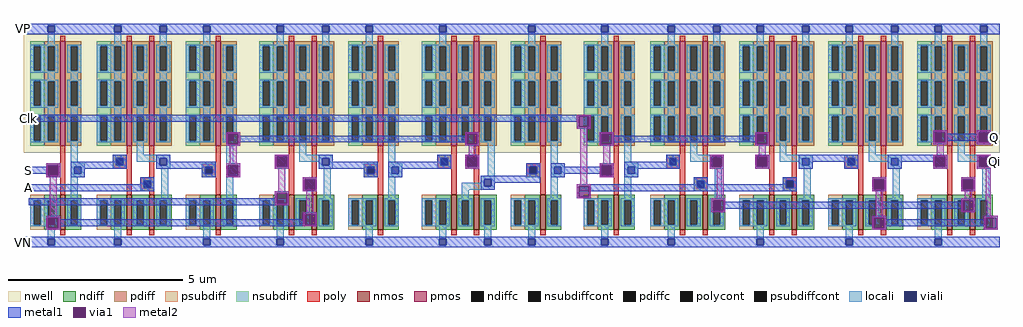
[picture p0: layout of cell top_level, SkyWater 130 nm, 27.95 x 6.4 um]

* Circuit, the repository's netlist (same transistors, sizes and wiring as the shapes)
* NGSPICE file created from top_level.ext - technology: sky130A

.subckt nand A B OUT VP VN
X0 OUT B a_30_0# VN sky130_fd_pr__nfet_01v8 ad=0.5 pd=3 as=0.25 ps=1.5 w=1 l=0.15
X1 a_30_0# A VN VN sky130_fd_pr__nfet_01v8 ad=0.25 pd=1.5 as=0.45 ps=2.9 w=1 l=0.15
X2 OUT A VP VP sky130_fd_pr__pfet_01v8 ad=0.75 pd=3.5 as=1.35 ps=6.9 w=3 l=0.15
X3 VP B OUT VP sky130_fd_pr__pfet_01v8 ad=1.5 pd=7 as=0.75 ps=3.5 w=3 l=0.15
.ends

.subckt inverter A OUT VP VN
X0 OUT A VN VN sky130_fd_pr__nfet_01v8 ad=0.45 pd=2.9 as=0.45 ps=2.9 w=1 l=0.15
X1 OUT A VP VP sky130_fd_pr__pfet_01v8 ad=1.35 pd=6.9 as=1.35 ps=6.9 w=3 l=0.15
.ends

.subckt dff D Clk Q Qi VP VN
Xnand_3 nand_3/A Qi Q VP VN nand
Xinverter_1 D nand_0/A VP VN inverter
Xnand_0 nand_0/A Clk nand_2/B VP VN nand
Xnand_1 D Clk nand_3/A VP VN nand
Xnand_2 Q nand_2/B Qi VP VN nand
.ends

.subckt nor A B OUT VP VN
X0 VN B OUT VN sky130_fd_pr__nfet_01v8 ad=0.5 pd=3 as=0.25 ps=1.5 w=1 l=0.15
X1 OUT A VN VN sky130_fd_pr__nfet_01v8 ad=0.25 pd=1.5 as=0.45 ps=2.9 w=1 l=0.15
X2 a_30_480# A VP VP sky130_fd_pr__pfet_01v8 ad=0.75 pd=3.5 as=1.35 ps=6.9 w=3 l=0.15
X3 OUT B a_30_480# VP sky130_fd_pr__pfet_01v8 ad=1.5 pd=7 as=0.75 ps=3.5 w=3 l=0.15
.ends

.subckt or A B OUT VP VN
Xinverter_0 nor_0/OUT OUT VP VN inverter
Xnor_0 A B nor_0/OUT VP VN nor
.ends

.subckt and A B OUT VP VN
Xinverter_0 nand_0/OUT OUT VP VN inverter
Xnand_0 A B nand_0/OUT VP VN nand
.ends

.subckt mux A B S D VP VN
Xinverter_0 S and_0/A VP VN inverter
Xor_0 or_0/A or_0/B D VP VN or
Xand_0 and_0/A A or_0/B VP VN and
Xand_1 B S or_0/A VP VN and
.ends

.subckt top_level A B S Clk Q Qi VP VN
Xdff_1 mux_0/D Clk Q Qi VP VN dff
Xmux_0 A B S mux_0/D VP VN mux
.ends

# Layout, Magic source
magic
tech sky130A
magscale 1 2
<< nwell >>
rect 3130 540 3170 1220
<< metal1 >>
rect 0 1220 30 1280
rect 3130 1220 3170 1280
rect 30 750 3250 760
rect 30 720 3180 750
rect 3170 690 3180 720
rect 3240 690 3250 750
rect 3170 680 3250 690
rect 5210 660 5290 670
rect 5210 600 5220 660
rect 5280 650 5290 660
rect 5460 660 5540 670
rect 5460 650 5470 660
rect 5280 610 5470 650
rect 5280 600 5290 610
rect 5210 590 5290 600
rect 5460 600 5470 610
rect 5530 650 5540 660
rect 5530 610 5560 650
rect 5530 600 5540 610
rect 5460 590 5540 600
rect 5210 520 5290 530
rect 5210 460 5220 520
rect 5280 460 5290 520
rect 30 420 70 460
rect 3100 420 3170 460
rect 5210 450 5290 460
rect 5460 520 5540 530
rect 5460 460 5470 520
rect 5530 510 5540 520
rect 5530 470 5560 510
rect 5530 460 5540 470
rect 5460 450 5540 460
rect 30 320 70 360
rect 3170 350 3250 360
rect 3170 290 3180 350
rect 3240 290 3250 350
rect 3170 280 3250 290
rect 30 240 70 280
rect 0 0 30 60
rect 3130 0 3170 60
<< via1 >>
rect 3180 690 3240 750
rect 5220 600 5280 660
rect 5470 600 5530 660
rect 5220 460 5280 520
rect 5470 460 5530 520
rect 3180 290 3240 350
<< metal2 >>
rect 3170 750 3250 760
rect 3170 690 3180 750
rect 3240 690 3250 750
rect 3170 680 3250 690
rect 3190 360 3230 680
rect 5210 660 5290 670
rect 5210 600 5220 660
rect 5280 600 5290 660
rect 5210 590 5290 600
rect 5460 660 5540 670
rect 5460 600 5470 660
rect 5530 600 5540 660
rect 5460 590 5540 600
rect 5230 530 5270 590
rect 5210 520 5290 530
rect 5210 460 5220 520
rect 5280 460 5290 520
rect 5210 450 5290 460
rect 5460 520 5540 530
rect 5460 460 5470 520
rect 5530 460 5540 520
rect 5460 450 5540 460
rect 3170 350 3250 360
rect 3170 290 3180 350
rect 3240 290 3250 350
rect 3170 280 3250 290
use dff  dff_1
transform 1 0 3170 0 1 0
box 0 0 2420 1280
use mux  mux_0
transform 1 0 0 0 1 0
box 0 0 3171 1280
<< labels >>
flabel metal1 30 420 30 460 1 FreeSans 560 0 0 0 S
port 3 n
flabel metal1 30 320 30 360 1 FreeSans 560 0 0 0 A
port 1 n
flabel metal1 30 240 30 280 1 FreeSans 560 0 0 0 B
port 2 n
flabel metal1 30 720 30 760 1 FreeSans 560 0 0 0 Clk
port 4 n
flabel metal1 5560 610 5560 650 1 FreeSans 560 0 0 0 Q
port 5 n
flabel metal1 5560 470 5560 510 1 FreeSans 560 0 0 0 Qi
port 6 n
flabel metal1 0 1220 0 1280 3 FreeSans 560 0 0 0 VP
port 7 e
flabel metal1 0 0 0 60 3 FreeSans 560 0 0 0 VN
port 8 e
<< end >>

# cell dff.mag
magic
tech sky130A
<< poly >>
rect 1055 225 1060 265
<< locali >>
rect 1055 225 1060 265
rect 1180 225 1185 265
<< metal1 >>
rect 0 610 15 640
rect 65 325 105 330
rect 65 295 70 325
rect 100 320 105 325
rect 510 325 550 330
rect 510 320 515 325
rect 100 300 515 320
rect 100 295 105 300
rect 65 290 105 295
rect 510 295 515 300
rect 545 295 550 325
rect 510 290 550 295
rect 255 245 295 265
rect 65 235 105 240
rect 65 230 70 235
rect 0 210 70 230
rect 65 205 70 210
rect 100 205 105 235
rect 65 200 105 205
rect 135 225 295 245
rect 380 260 420 265
rect 380 230 385 260
rect 415 230 420 260
rect 380 225 420 230
rect 510 260 550 265
rect 510 230 515 260
rect 545 230 550 260
rect 510 225 550 230
rect 635 245 805 265
rect 635 225 675 245
rect 765 225 805 245
rect 890 245 1060 265
rect 890 225 930 245
rect 1020 225 1060 245
rect 1145 260 1185 265
rect 1145 230 1150 260
rect 1180 230 1185 260
rect 1145 225 1185 230
rect 135 200 175 225
rect 335 180 375 200
rect 845 195 885 200
rect 0 160 590 180
rect 845 165 850 195
rect 880 165 885 195
rect 845 160 885 165
rect 1100 195 1140 200
rect 1100 165 1105 195
rect 1135 165 1140 195
rect 1100 160 1140 165
rect 385 135 425 140
rect 385 105 390 135
rect 420 130 425 135
rect 1100 135 1140 140
rect 1100 130 1105 135
rect 420 110 1105 130
rect 420 105 425 110
rect 385 100 425 105
rect 1100 105 1105 110
rect 1135 105 1140 135
rect 1100 100 1140 105
rect 845 85 885 90
rect 845 55 850 85
rect 880 80 885 85
rect 1165 85 1205 90
rect 1165 80 1170 85
rect 880 60 1170 80
rect 880 55 885 60
rect 845 50 885 55
rect 1165 55 1170 60
rect 1200 55 1205 85
rect 1165 50 1205 55
rect 0 0 15 30
<< via1 >>
rect 70 295 100 325
rect 515 295 545 325
rect 70 205 100 235
rect 385 230 415 260
rect 515 230 545 260
rect 1150 230 1180 260
rect 850 165 880 195
rect 1105 165 1135 195
rect 390 105 420 135
rect 1105 105 1135 135
rect 850 55 880 85
rect 1170 55 1200 85
<< metal2 >>
rect 65 325 105 330
rect 65 295 70 325
rect 100 295 105 325
rect 65 290 105 295
rect 510 325 550 330
rect 510 295 515 325
rect 545 295 550 325
rect 510 290 550 295
rect 75 240 95 290
rect 520 265 540 290
rect 380 260 420 265
rect 65 235 105 240
rect 65 205 70 235
rect 100 205 105 235
rect 380 230 385 260
rect 415 230 420 260
rect 380 225 420 230
rect 510 260 550 265
rect 510 230 515 260
rect 545 230 550 260
rect 510 225 550 230
rect 1145 260 1185 265
rect 1145 230 1150 260
rect 1180 230 1185 260
rect 1145 225 1185 230
rect 65 200 105 205
rect 400 140 420 225
rect 845 195 885 200
rect 845 165 850 195
rect 880 165 885 195
rect 845 160 885 165
rect 1100 195 1140 200
rect 1100 165 1105 195
rect 1135 165 1140 195
rect 1100 160 1140 165
rect 385 135 425 140
rect 385 105 390 135
rect 420 105 425 135
rect 385 100 425 105
rect 855 90 875 160
rect 1110 140 1130 160
rect 1100 135 1140 140
rect 1100 105 1105 135
rect 1135 105 1140 135
rect 1100 100 1140 105
rect 1170 90 1185 225
rect 845 85 885 90
rect 845 55 850 85
rect 880 55 885 85
rect 845 50 885 55
rect 1165 85 1205 90
rect 1165 55 1170 85
rect 1200 55 1205 85
rect 1165 50 1205 55
use inverter  inverter_1
transform 1 0 105 0 1 50
box -105 -50 85 590
use nand  nand_0
transform 1 0 295 0 1 50
box -105 -50 150 590
use nand  nand_1
transform 1 0 550 0 1 50
box -105 -50 150 590
use nand  nand_2
transform 1 0 1060 0 1 50
box -105 -50 150 590
use nand  nand_3
transform 1 0 805 0 1 50
box -105 -50 150 590
<< labels >>
flabel metal1 0 210 0 230 3 FreeSans 200 0 0 0 D
port 1 e
flabel metal1 0 160 0 180 3 FreeSans 200 0 0 0 Clk
port 2 e
flabel metal1 0 610 0 640 3 FreeSans 200 0 0 0 VP
port 5 e
flabel metal1 0 0 0 30 3 FreeSans 200 0 0 0 VN
port 6 e
flabel metal1 1060 225 1060 265 1 FreeSans 200 0 0 0 Q
port 3 n
flabel metal2 1185 225 1185 265 1 FreeSans 200 0 0 0 Qi
port 4 n
<< end >>

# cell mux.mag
magic
tech sky130A
magscale 1 2
<< nwell >>
rect 1270 540 1310 1220
rect 2200 540 2250 1220
<< metal1 >>
rect 0 1220 30 1280
rect 1270 1220 1310 1280
rect 2200 1220 2240 1280
rect 1160 650 1240 660
rect 1160 590 1170 650
rect 1230 640 1240 650
rect 2530 650 2610 660
rect 2530 640 2540 650
rect 1230 600 2540 640
rect 1230 590 1240 600
rect 1160 580 1240 590
rect 2530 590 2540 600
rect 2600 590 2610 650
rect 2530 580 2610 590
rect 510 490 590 530
rect 130 470 210 480
rect 130 460 140 470
rect 40 420 140 460
rect 130 410 140 420
rect 200 410 210 470
rect 130 400 210 410
rect 270 450 590 490
rect 1440 520 1520 530
rect 1160 470 1240 480
rect 270 400 350 450
rect 1160 410 1170 470
rect 1230 410 1240 470
rect 1440 460 1450 520
rect 1510 460 1520 520
rect 2370 490 2450 530
rect 1440 450 1520 460
rect 2090 450 2450 490
rect 2530 520 2610 530
rect 2530 460 2540 520
rect 2600 460 2610 520
rect 2530 450 2610 460
rect 1160 400 1240 410
rect 2090 400 2170 450
rect 3020 400 3100 480
rect 670 360 750 400
rect 40 320 750 360
rect 1600 390 1680 400
rect 1600 330 1610 390
rect 1670 330 1680 390
rect 1600 320 1680 330
rect 1440 310 1520 320
rect 1440 280 1450 310
rect 40 250 1450 280
rect 1510 250 1520 310
rect 40 240 1520 250
rect 1600 190 1680 200
rect 130 170 210 180
rect 130 110 140 170
rect 200 160 210 170
rect 1600 160 1610 190
rect 200 130 1610 160
rect 1670 130 1680 190
rect 200 120 1680 130
rect 200 110 210 120
rect 130 100 210 110
rect 0 0 30 60
rect 1270 0 1310 60
rect 2200 0 2240 60
<< via1 >>
rect 1170 590 1230 650
rect 2540 590 2600 650
rect 140 410 200 470
rect 1170 410 1230 470
rect 1450 460 1510 520
rect 2540 460 2600 520
rect 1610 330 1670 390
rect 1450 250 1510 310
rect 140 110 200 170
rect 1610 130 1670 190
<< metal2 >>
rect 1160 650 1240 660
rect 1160 590 1170 650
rect 1230 590 1240 650
rect 1160 580 1240 590
rect 2530 650 2610 660
rect 2530 590 2540 650
rect 2600 590 2610 650
rect 2530 580 2610 590
rect 1180 480 1220 580
rect 2550 530 2590 580
rect 1440 520 1520 530
rect 130 470 210 480
rect 130 410 140 470
rect 200 410 210 470
rect 130 400 210 410
rect 1160 470 1240 480
rect 1160 410 1170 470
rect 1230 410 1240 470
rect 1440 460 1450 520
rect 1510 460 1520 520
rect 1440 450 1520 460
rect 2530 520 2610 530
rect 2530 460 2540 520
rect 2600 460 2610 520
rect 2530 450 2610 460
rect 1160 400 1240 410
rect 150 180 190 400
rect 1460 320 1500 450
rect 1600 390 1680 400
rect 1600 330 1610 390
rect 1670 330 1680 390
rect 1600 320 1680 330
rect 1440 310 1520 320
rect 1440 250 1450 310
rect 1510 250 1520 310
rect 1440 240 1520 250
rect 1620 200 1660 320
rect 1600 190 1680 200
rect 130 170 210 180
rect 130 110 140 170
rect 200 110 210 170
rect 1600 130 1610 190
rect 1670 130 1680 190
rect 1600 120 1680 130
rect 130 100 210 110
use and  and_0
transform 1 0 380 0 1 0
box 0 0 931 1280
use and  and_1
transform 1 0 1310 0 1 0
box 0 0 931 1280
use inverter  inverter_0
transform 1 0 210 0 1 100
box -210 -100 170 1180
use or  or_0
transform 1 0 2240 0 1 0
box 0 0 931 1280
<< labels >>
flabel metal1 40 420 40 460 1 FreeSans 400 0 0 0 S
port 3 n
flabel metal1 40 320 40 360 1 FreeSans 400 0 0 0 A
port 1 n
flabel metal1 40 240 40 280 1 FreeSans 400 0 0 0 B
port 2 n
flabel metal1 3100 400 3100 480 1 FreeSans 400 0 0 0 D
port 4 n
flabel metal1 0 1220 0 1280 3 FreeSans 400 0 0 0 VP
port 5 e
flabel metal1 0 0 0 60 3 FreeSans 400 0 0 0 VN
port 6 e
<< end >>

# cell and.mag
magic
tech sky130A
<< metal1 >>
rect 0 610 15 640
rect 65 225 105 265
rect 230 225 360 245
rect 390 200 430 240
rect 145 160 185 200
rect 0 0 15 30
use inverter  inverter_0
transform 1 0 360 0 1 50
box -105 -50 85 590
use nand  nand_0
transform 1 0 105 0 1 50
box -105 -50 150 590
<< labels >>
flabel metal1 65 225 65 265 1 FreeSans 200 0 0 0 A
port 1 n
flabel metal1 145 160 145 200 1 FreeSans 200 0 0 0 B
port 2 n
flabel metal1 430 200 430 240 1 FreeSans 200 0 0 0 OUT
port 3 n
flabel metal1 0 610 0 640 3 FreeSans 200 0 0 0 VP
port 4 e
flabel metal1 0 0 0 30 3 FreeSans 200 0 0 0 VN
port 5 e
<< end >>

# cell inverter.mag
magic
tech sky130A
<< nwell >>
rect -105 220 85 560
<< nmos >>
rect 0 0 15 100
<< pmos >>
rect 0 240 15 540
<< ndiff >>
rect -45 85 0 100
rect -45 15 -35 85
rect -15 15 0 85
rect -45 0 0 15
rect 15 85 60 100
rect 15 15 30 85
rect 50 15 60 85
rect 15 0 60 15
<< pdiff >>
rect -45 525 0 540
rect -45 455 -35 525
rect -15 455 0 525
rect -45 425 0 455
rect -45 355 -35 425
rect -15 355 0 425
rect -45 325 0 355
rect -45 255 -35 325
rect -15 255 0 325
rect -45 240 0 255
rect 15 525 60 540
rect 15 455 30 525
rect 50 455 60 525
rect 15 425 60 455
rect 15 355 30 425
rect 50 355 60 425
rect 15 325 60 355
rect 15 255 30 325
rect 50 255 60 325
rect 15 240 60 255
<< ndiffc >>
rect -35 15 -15 85
rect 30 15 50 85
<< pdiffc >>
rect -35 455 -15 525
rect -35 355 -15 425
rect -35 255 -15 325
rect 30 455 50 525
rect 30 355 50 425
rect 30 255 50 325
<< psubdiff >>
rect -85 85 -45 100
rect -85 15 -75 85
rect -55 15 -45 85
rect -85 0 -45 15
<< nsubdiff >>
rect -85 525 -45 540
rect -85 455 -75 525
rect -55 455 -45 525
rect -85 425 -45 455
rect -85 355 -75 425
rect -55 355 -45 425
rect -85 325 -45 355
rect -85 255 -75 325
rect -55 255 -45 325
rect -85 240 -45 255
<< psubdiffcont >>
rect -75 15 -55 85
<< nsubdiffcont >>
rect -75 455 -55 525
rect -75 355 -55 425
rect -75 255 -55 325
<< poly >>
rect 0 540 15 555
rect 0 190 15 240
rect -40 180 15 190
rect -40 160 -30 180
rect -10 160 15 180
rect -40 150 15 160
rect 0 100 15 150
rect 0 -15 15 0
<< polycont >>
rect -30 160 -10 180
<< locali >>
rect -35 585 -15 590
rect -35 530 -15 565
rect -85 525 -5 530
rect -85 455 -75 525
rect -55 455 -35 525
rect -15 455 -5 525
rect -85 450 -5 455
rect 20 525 60 530
rect 20 455 30 525
rect 50 455 60 525
rect 20 450 60 455
rect -35 430 -15 450
rect 30 430 50 450
rect -85 425 -5 430
rect -85 355 -75 425
rect -55 355 -35 425
rect -15 355 -5 425
rect -85 350 -5 355
rect 20 425 60 430
rect 20 355 30 425
rect 50 355 60 425
rect 20 350 60 355
rect -35 330 -15 350
rect 30 330 50 350
rect -85 325 -5 330
rect -85 255 -75 325
rect -55 255 -35 325
rect -15 255 -5 325
rect -85 250 -5 255
rect 20 325 60 330
rect 20 255 30 325
rect 50 255 60 325
rect 20 250 60 255
rect 30 190 50 250
rect -40 180 0 190
rect -40 160 -30 180
rect -10 160 0 180
rect -40 150 0 160
rect 30 180 70 190
rect 30 160 40 180
rect 60 160 70 180
rect 30 150 70 160
rect 30 90 50 150
rect -85 85 -5 90
rect -85 15 -75 85
rect -55 15 -35 85
rect -15 15 -5 85
rect -85 10 -5 15
rect 20 85 60 90
rect 20 15 30 85
rect 50 15 60 85
rect 20 10 60 15
rect -35 -25 -15 10
<< viali >>
rect -35 565 -15 585
rect -30 160 -10 180
rect 40 160 60 180
rect -35 -45 -15 -25
<< metal1 >>
rect -105 585 85 590
rect -105 565 -35 585
rect -15 565 85 585
rect -105 560 85 565
rect -40 180 0 190
rect -40 160 -30 180
rect -10 160 0 180
rect -40 150 0 160
rect 30 180 70 190
rect 30 160 40 180
rect 60 160 70 180
rect 30 150 70 160
rect -105 -25 85 -20
rect -105 -45 -35 -25
rect -15 -45 85 -25
rect -105 -50 85 -45
<< labels >>
flabel metal1 -40 150 -40 190 1 FreeSans 200 0 0 0 A
port 1 n
flabel metal1 70 150 70 190 1 FreeSans 200 0 0 0 OUT
port 2 n
flabel metal1 -105 560 -105 590 3 FreeSans 200 0 0 0 VP
port 3 e
flabel metal1 -105 -50 -105 -20 3 FreeSans 200 0 0 0 VN
port 4 e
<< end >>

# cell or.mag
magic
tech sky130A
<< metal1 >>
rect 0 610 20 640
rect 65 225 105 265
rect 145 225 185 265
rect 230 185 360 205
rect 390 200 430 240
rect 0 0 20 30
use inverter  inverter_0
transform 1 0 360 0 1 50
box -105 -50 85 590
use nor  nor_0
transform 1 0 105 0 1 50
box -105 -50 150 590
<< labels >>
flabel metal1 65 225 65 265 1 FreeSans 200 0 0 0 A
port 1 n
flabel metal1 145 225 145 265 1 FreeSans 200 0 0 0 B
port 2 n
flabel metal1 430 200 430 240 1 FreeSans 200 0 0 0 OUT
port 3 n
flabel metal1 0 610 0 640 3 FreeSans 200 0 0 0 VP
port 4 e
flabel metal1 0 0 0 30 3 FreeSans 200 0 0 0 VN
port 5 e
<< end >>

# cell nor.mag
magic
tech sky130A
<< nwell >>
rect -105 220 150 560
<< nmos >>
rect 0 0 15 100
rect 65 0 80 100
<< pmos >>
rect 0 240 15 540
rect 65 240 80 540
<< ndiff >>
rect -45 85 0 100
rect -45 15 -35 85
rect -15 15 0 85
rect -45 0 0 15
rect 15 85 65 100
rect 15 15 30 85
rect 50 15 65 85
rect 15 0 65 15
rect 80 85 130 100
rect 80 15 95 85
rect 115 15 130 85
rect 80 0 130 15
<< pdiff >>
rect -45 525 0 540
rect -45 455 -35 525
rect -15 455 0 525
rect -45 425 0 455
rect -45 355 -35 425
rect -15 355 0 425
rect -45 325 0 355
rect -45 255 -35 325
rect -15 255 0 325
rect -45 240 0 255
rect 15 525 65 540
rect 15 455 30 525
rect 50 455 65 525
rect 15 425 65 455
rect 15 355 30 425
rect 50 355 65 425
rect 15 325 65 355
rect 15 255 30 325
rect 50 255 65 325
rect 15 240 65 255
rect 80 525 130 540
rect 80 455 95 525
rect 115 455 130 525
rect 80 425 130 455
rect 80 355 95 425
rect 115 355 130 425
rect 80 325 130 355
rect 80 255 95 325
rect 115 255 130 325
rect 80 240 130 255
<< ndiffc >>
rect -35 15 -15 85
rect 30 15 50 85
rect 95 15 115 85
<< pdiffc >>
rect -35 455 -15 525
rect -35 355 -15 425
rect -35 255 -15 325
rect 30 455 50 525
rect 30 355 50 425
rect 30 255 50 325
rect 95 455 115 525
rect 95 355 115 425
rect 95 255 115 325
<< psubdiff >>
rect -85 85 -45 100
rect -85 15 -75 85
rect -55 15 -45 85
rect -85 0 -45 15
<< nsubdiff >>
rect -85 525 -45 540
rect -85 455 -75 525
rect -55 455 -45 525
rect -85 425 -45 455
rect -85 355 -75 425
rect -55 355 -45 425
rect -85 325 -45 355
rect -85 255 -75 325
rect -55 255 -45 325
rect -85 240 -45 255
<< psubdiffcont >>
rect -75 15 -55 85
<< nsubdiffcont >>
rect -75 455 -55 525
rect -75 355 -55 425
rect -75 255 -55 325
<< poly >>
rect 0 540 15 555
rect 65 540 80 555
rect 0 215 15 240
rect 65 215 80 240
rect -40 205 15 215
rect -40 185 -30 205
rect -10 185 15 205
rect -40 175 15 185
rect 40 205 80 215
rect 40 185 50 205
rect 70 185 80 205
rect 40 175 80 185
rect 0 100 15 175
rect 65 100 80 175
rect 0 -15 15 0
rect 65 -15 80 0
<< polycont >>
rect -30 185 -10 205
rect 50 185 70 205
<< locali >>
rect -35 585 -15 590
rect -35 530 -15 565
rect -85 525 -5 530
rect -85 455 -75 525
rect -55 455 -35 525
rect -15 455 -5 525
rect -85 450 -5 455
rect 20 525 60 530
rect 20 455 30 525
rect 50 455 60 525
rect 20 450 60 455
rect 85 525 125 530
rect 85 455 95 525
rect 115 455 125 525
rect 85 450 125 455
rect -35 430 -15 450
rect 30 430 50 450
rect 95 430 115 450
rect -85 425 -5 430
rect -85 355 -75 425
rect -55 355 -35 425
rect -15 355 -5 425
rect -85 350 -5 355
rect 20 425 60 430
rect 20 355 30 425
rect 50 355 60 425
rect 20 350 60 355
rect 85 425 125 430
rect 85 355 95 425
rect 115 355 125 425
rect 85 350 125 355
rect -35 330 -15 350
rect 30 330 50 350
rect 95 330 115 350
rect -85 325 -5 330
rect -85 255 -75 325
rect -55 255 -35 325
rect -15 255 -5 325
rect -85 250 -5 255
rect 20 325 60 330
rect 20 255 30 325
rect 50 255 60 325
rect 20 250 60 255
rect 85 325 125 330
rect 85 255 95 325
rect 115 255 125 325
rect 85 250 125 255
rect -40 205 0 215
rect -40 185 -30 205
rect -10 185 0 205
rect -40 175 0 185
rect 40 205 80 215
rect 40 185 50 205
rect 70 185 80 205
rect 40 175 80 185
rect 105 155 125 250
rect 85 145 125 155
rect 85 135 95 145
rect 30 125 95 135
rect 115 125 125 145
rect 30 115 125 125
rect 30 90 50 115
rect -85 85 -5 90
rect -85 15 -75 85
rect -55 15 -35 85
rect -15 15 -5 85
rect -85 10 -5 15
rect 20 85 60 90
rect 20 15 30 85
rect 50 15 60 85
rect 20 10 60 15
rect 85 85 125 90
rect 85 15 95 85
rect 115 15 125 85
rect 85 10 125 15
rect -35 -25 -15 10
rect 95 -25 115 10
<< viali >>
rect -35 565 -15 585
rect -30 185 -10 205
rect 50 185 70 205
rect 95 125 115 145
rect -35 -45 -15 -25
rect 95 -45 115 -25
<< metal1 >>
rect -105 585 150 590
rect -105 565 -35 585
rect -15 565 150 585
rect -105 560 150 565
rect -40 205 0 215
rect -40 185 -30 205
rect -10 185 0 205
rect -40 175 0 185
rect 40 205 80 215
rect 40 185 50 205
rect 70 185 80 205
rect 40 175 80 185
rect 85 145 125 155
rect 85 125 95 145
rect 115 125 125 145
rect 85 115 125 125
rect -105 -25 150 -20
rect -105 -45 -35 -25
rect -15 -45 95 -25
rect 115 -45 150 -25
rect -105 -50 150 -45
<< labels >>
flabel metal1 -40 175 -40 215 1 FreeSans 200 0 0 0 A
port 1 n
flabel metal1 -105 560 -105 590 3 FreeSans 200 0 0 0 VP
port 4 e
flabel metal1 -105 -50 -105 -20 3 FreeSans 200 0 0 0 VN
port 5 e
flabel metal1 40 175 40 215 1 FreeSans 200 0 0 0 B
port 2 n
flabel metal1 125 115 125 155 1 FreeSans 200 0 0 0 OUT
port 3 n
<< end >>

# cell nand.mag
magic
tech sky130A
<< nwell >>
rect -105 220 150 560
<< nmos >>
rect 0 0 15 100
rect 65 0 80 100
<< pmos >>
rect 0 240 15 540
rect 65 240 80 540
<< ndiff >>
rect -45 85 0 100
rect -45 15 -35 85
rect -15 15 0 85
rect -45 0 0 15
rect 15 85 65 100
rect 15 15 30 85
rect 50 15 65 85
rect 15 0 65 15
rect 80 85 130 100
rect 80 15 95 85
rect 115 15 130 85
rect 80 0 130 15
<< pdiff >>
rect -45 525 0 540
rect -45 455 -35 525
rect -15 455 0 525
rect -45 425 0 455
rect -45 355 -35 425
rect -15 355 0 425
rect -45 325 0 355
rect -45 255 -35 325
rect -15 255 0 325
rect -45 240 0 255
rect 15 525 65 540
rect 15 455 30 525
rect 50 455 65 525
rect 15 425 65 455
rect 15 355 30 425
rect 50 355 65 425
rect 15 325 65 355
rect 15 255 30 325
rect 50 255 65 325
rect 15 240 65 255
rect 80 525 130 540
rect 80 455 95 525
rect 115 455 130 525
rect 80 425 130 455
rect 80 355 95 425
rect 115 355 130 425
rect 80 325 130 355
rect 80 255 95 325
rect 115 255 130 325
rect 80 240 130 255
<< ndiffc >>
rect -35 15 -15 85
rect 30 15 50 85
rect 95 15 115 85
<< pdiffc >>
rect -35 455 -15 525
rect -35 355 -15 425
rect -35 255 -15 325
rect 30 455 50 525
rect 30 355 50 425
rect 30 255 50 325
rect 95 455 115 525
rect 95 355 115 425
rect 95 255 115 325
<< psubdiff >>
rect -85 85 -45 100
rect -85 15 -75 85
rect -55 15 -45 85
rect -85 0 -45 15
<< nsubdiff >>
rect -85 525 -45 540
rect -85 455 -75 525
rect -55 455 -45 525
rect -85 425 -45 455
rect -85 355 -75 425
rect -55 355 -45 425
rect -85 325 -45 355
rect -85 255 -75 325
rect -55 255 -45 325
rect -85 240 -45 255
<< psubdiffcont >>
rect -75 15 -55 85
<< nsubdiffcont >>
rect -75 455 -55 525
rect -75 355 -55 425
rect -75 255 -55 325
<< poly >>
rect 0 540 15 555
rect 65 540 80 555
rect 0 215 15 240
rect -40 205 15 215
rect -40 185 -30 205
rect -10 185 15 205
rect -40 175 15 185
rect 0 100 15 175
rect 65 150 80 240
rect 40 140 80 150
rect 40 120 50 140
rect 70 120 80 140
rect 40 110 80 120
rect 65 100 80 110
rect 0 -15 15 0
rect 65 -15 80 0
<< polycont >>
rect -30 185 -10 205
rect 50 120 70 140
<< locali >>
rect -35 585 -15 590
rect -35 530 -15 565
rect 95 585 115 590
rect 95 530 115 565
rect -85 525 -5 530
rect -85 455 -75 525
rect -55 455 -35 525
rect -15 455 -5 525
rect -85 450 -5 455
rect 20 525 60 530
rect 20 455 30 525
rect 50 455 60 525
rect 20 450 60 455
rect 85 525 125 530
rect 85 455 95 525
rect 115 455 125 525
rect 85 450 125 455
rect -35 430 -15 450
rect 30 430 50 450
rect 95 430 115 450
rect -85 425 -5 430
rect -85 355 -75 425
rect -55 355 -35 425
rect -15 355 -5 425
rect -85 350 -5 355
rect 20 425 60 430
rect 20 355 30 425
rect 50 355 60 425
rect 20 350 60 355
rect 85 425 125 430
rect 85 355 95 425
rect 115 355 125 425
rect 85 350 125 355
rect -35 330 -15 350
rect 30 330 50 350
rect 95 330 115 350
rect -85 325 -5 330
rect -85 255 -75 325
rect -55 255 -35 325
rect -15 255 -5 325
rect -85 250 -5 255
rect 20 325 60 330
rect 20 255 30 325
rect 50 255 60 325
rect 20 250 60 255
rect 85 325 125 330
rect 85 255 95 325
rect 115 255 125 325
rect 85 250 125 255
rect 30 215 50 250
rect -40 205 0 215
rect -40 185 -30 205
rect -10 185 0 205
rect 30 205 125 215
rect 30 195 95 205
rect -40 175 0 185
rect 85 185 95 195
rect 115 185 125 205
rect 85 175 125 185
rect 40 140 80 150
rect 40 120 50 140
rect 70 120 80 140
rect 40 110 80 120
rect 100 90 120 175
rect -85 85 -5 90
rect -85 15 -75 85
rect -55 15 -35 85
rect -15 15 -5 85
rect -85 10 -5 15
rect 20 85 60 90
rect 20 15 30 85
rect 50 15 60 85
rect 20 10 60 15
rect 85 85 125 90
rect 85 15 95 85
rect 115 15 125 85
rect 85 10 125 15
rect -35 -25 -15 10
<< viali >>
rect -35 565 -15 585
rect 95 565 115 585
rect -30 185 -10 205
rect 95 185 115 205
rect 50 120 70 140
rect -35 -45 -15 -25
<< metal1 >>
rect -105 585 150 590
rect -105 565 -35 585
rect -15 565 95 585
rect 115 565 150 585
rect -105 560 150 565
rect -40 205 0 215
rect -40 185 -30 205
rect -10 185 0 205
rect -40 175 0 185
rect 85 205 125 215
rect 85 185 95 205
rect 115 185 125 205
rect 85 175 125 185
rect 40 140 80 150
rect 40 120 50 140
rect 70 120 80 140
rect 40 110 80 120
rect -105 -25 150 -20
rect -105 -45 -35 -25
rect -15 -45 150 -25
rect -105 -50 150 -45
<< labels >>
flabel metal1 -40 175 -40 215 1 FreeSans 200 0 0 0 A
port 1 n
flabel metal1 40 110 40 150 1 FreeSans 200 0 0 0 B
port 2 n
flabel metal1 125 175 125 215 1 FreeSans 200 0 0 0 OUT
port 3 n
flabel metal1 -105 560 -105 590 3 FreeSans 200 0 0 0 VP
port 4 e
flabel metal1 -105 -50 -105 -20 3 FreeSans 200 0 0 0 VN
port 5 e
<< end >>
